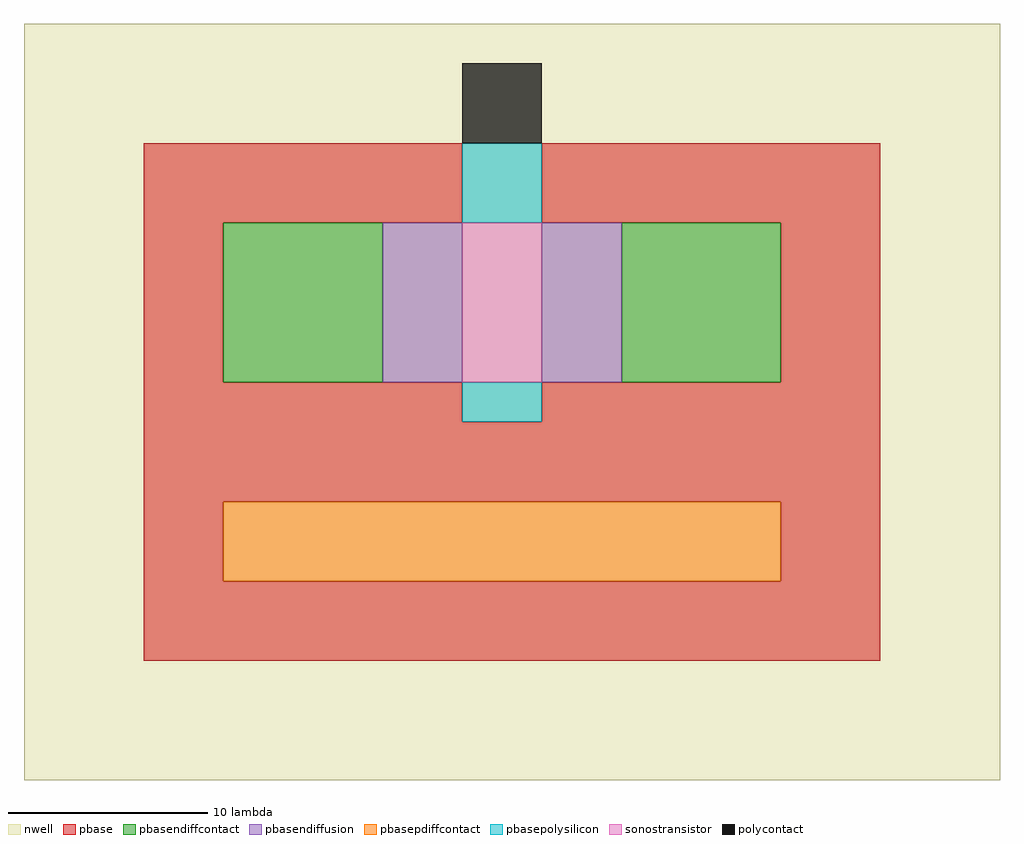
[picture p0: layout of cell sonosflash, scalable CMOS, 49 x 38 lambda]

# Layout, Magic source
magic
tech scmos
<< nwell >>
rect -6 -10 43 28
<< pbasepolysilicon >>
rect 16 18 20 22
rect 16 8 20 10
<< sonostransistor >>
rect 16 10 20 18
<< pbase >>
rect 0 18 16 22
rect 20 18 37 22
rect 0 10 4 18
rect 32 10 37 18
rect 0 8 16 10
rect 20 8 37 10
rect 0 4 37 8
rect 0 0 4 4
rect 32 0 37 4
rect 0 -4 37 0
<< polycontact >>
rect 16 22 20 26
<< pbasendiffusion >>
rect 12 10 16 18
rect 20 10 24 18
<< pbasendiffcontact >>
rect 4 10 12 18
rect 24 10 32 18
<< pbasepdiffcontact >>
rect 4 0 32 4
<< end >>
